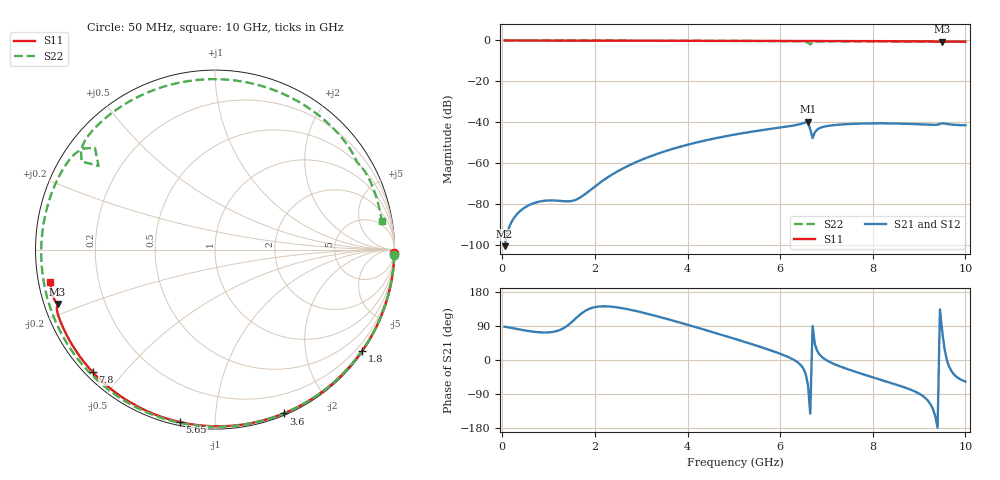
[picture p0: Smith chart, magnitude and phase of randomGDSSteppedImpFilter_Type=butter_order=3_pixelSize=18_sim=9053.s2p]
! freq	dB(S11)	phase(S11)	dB(S12)	phase(S12)
!  dB(S21)	phase(S21)	dB(S22)	phase(S22)
!S-par simulation data
#  GHz  S  DB  R 50
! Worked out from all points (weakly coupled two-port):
!   200 points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, 50 MHz to 10 GHz, reference 50 ohm
!   highest |S21| = -39.74 dB at 6.6 GHz (marker M1); lowest = -100.6 dB at 50 MHz (marker M2)
!   lowest |S11| = -0.7 dB at 9.5 GHz (marker M3), VSWR 26.66, Z = 1.93 - j8.38 ohm
!   |S11| at or under -10 dB: nowhere
!   |S22| runs from -1.9 to 0.0 dB; largest |S21 - S12| = 0
!   S11 on the Smith chart (normalised r, x): 50 MHz: open; 1.8 GHz: 0.03, -3.21; 3.6 GHz: 0.02, -1.50; 5.65 GHz: 0.02, -0.82; 7.8 GHz: 0.02, -0.42; 10 GHz: 0.03, -0.10
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0.05  -0.00 -1.0  -100.59 87.9  -100.59 87.9  -0.00 -1.7
0.7  -0.02 -13.6  -79.40 74.3  -79.40 74.3  -0.03 -23.9
1.45  -0.04 -28.0  -78.63 94.8  -78.63 94.8  -0.06 -48.9
1.75  -0.04 -33.7  -75.77 126.4  -75.77 126.4  -0.07 -58.8
1.8  -0.04 -34.6  -74.93 130.3  -74.93 130.3  -0.08 -60.4
2.55  -0.06 -48.5  -63.24 137.6  -63.24 137.6  -0.11 -84.4
3.4  -0.08 -63.8  -55.04 113.5  -55.04 113.5  -0.14 -111.0
3.6  -0.09 -67.3  -53.57 106.8  -53.57 106.8  -0.15 -117.2
4.35  -0.11 -80.1  -49.06 80.5  -49.06 80.5  -0.20 -140.5
5.05  -0.14 -91.8  -45.88 54.7  -45.88 54.7  -0.24 -162.7
5.65  -0.17 -101.5  -43.70 31.5  -43.70 31.5  -0.29 177.6
6.3  -0.20 -111.7  -41.55 0.1  -41.55 0.1  -0.36 154.5
6.6  -0.23 -116.4  -39.74 -65.4  -39.74 -65.4  -1.14 139.7
6.65  -0.24 -117.2  -43.49 -141.7  -43.49 -141.7  -1.95 144.3
6.7  -0.24 -117.9  -47.77 89.7  -47.77 89.7  -1.01 146.6
6.75  -0.24 -118.7  -44.88 41.4  -44.88 41.4  -0.62 143.4
6.9  -0.24 -121.0  -42.44 8.3  -42.44 8.3  -0.43 135.8
7.8  -0.31 -134.8  -40.61 -38.0  -40.61 -38.0  -0.44 99.4
8.35  -0.37 -143.3  -40.55 -58.9  -40.55 -58.9  -0.46 76.8
9  -0.43 -153.4  -41.00 -88.7  -41.00 -88.7  -0.49 49.7
9.5  -0.65 -161.0  -40.52 75.1  -40.52 75.1  -0.59 30.0
10  -0.57 -168.8  -41.48 -57.0  -41.48 -57.0  -0.51 9.6
